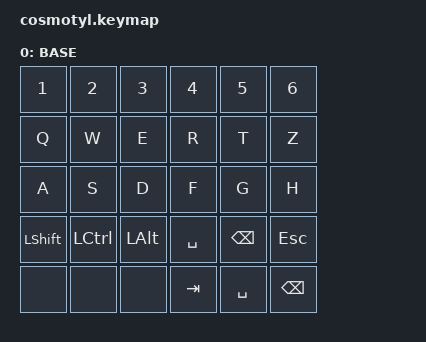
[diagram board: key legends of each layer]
/* Cosmotyl Keyboard Keymap */
#include <behaviors.dtsi>
#include <dt-bindings/zmk/keys.h>
#include <dt-bindings/zmk/bt.h>
#include <dt-bindings/zmk/mouse.h>

#define BASE 0
#define MEDIA  1
#define SYM  2
#define ADJ  3



/ {
        keymap {
                compatible = "zmk,keymap";
		label = "Cosmotyl Keymap";

		BASE {
			bindings = <
				// Spalte 0           Spalte 1           Spalte 2           Spalte 3           Spalte 4           Spalte 5
				&kp 1                &kp 2              &kp 3              &kp 4              &kp 5              &kp 6        // Reihe 0
				&kp Q                &kp W              &kp E              &kp R              &kp T              &kp Z        // Reihe 1
				&kp A                &kp S              &kp D              &kp F              &kp G              &kp H        // Reihe 2
				&kp LSHIFT           &kp LCTRL          &kp LALT           &kp SPACE          &kp BACKSPACE      &kp ESC      // Reihe 3

				// Daumentasten
				&none                &none              &none              &kp TAB            &kp SPACE          &kp BACKSPACE
			>;
		};
	};
};
